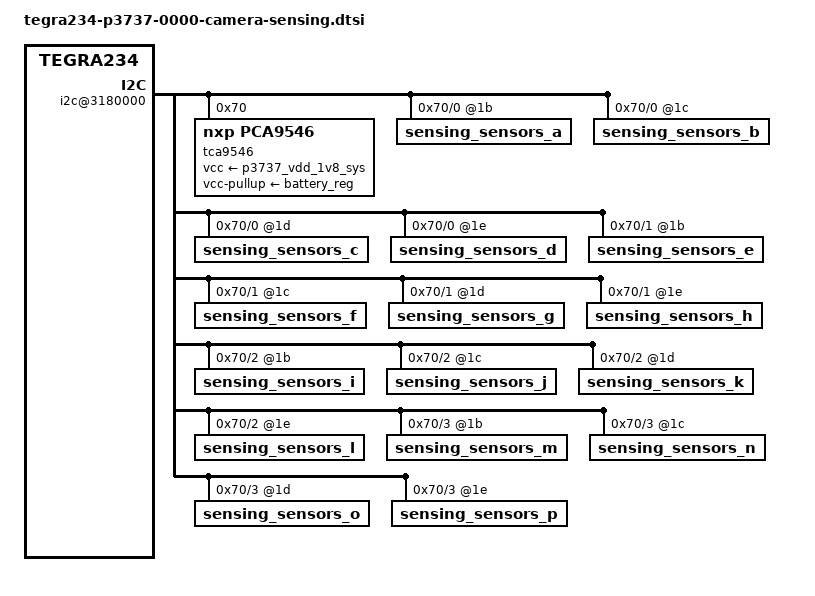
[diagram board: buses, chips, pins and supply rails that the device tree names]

#include <t234-common-modules/tegra234-camera-sensing.dtsi>
#include "dt-bindings/clock/tegra234-clock.h"

#define CAMERA_I2C_MUX_BUS(x) (0x1E + x)

/ {
	i2c@3180000 {
		tca9546@70 {
			compatible = "nxp,pca9546";
			reg = <0x70>;
			#address-cells = <1>;
			#size-cells = <0>;
			skip_mux_detect = "yes";
			vcc-supply = <&p3737_vdd_1v8_sys>;
			vcc-pullup-supply = <&battery_reg>;
			force_bus_start = <CAMERA_I2C_MUX_BUS(0)>;

			i2c@0 {
				reg = <0>;
				i2c-mux,deselect-on-exit;
				#address-cells = <1>;
				#size-cells = <0>;

				sensing_sensors_a@1b {
					status = "okay";
					clocks = <&bpmp_clks TEGRA234_CLK_EXTPERIPH1>,
							 <&bpmp_clks TEGRA234_CLK_EXTPERIPH1>;
					clock-names = "extperiph1", "pllp_grtba";
					mclk = "extperiph1";
				};

				sensing_sensors_b@1c {
					status = "okay";
					clocks = <&bpmp_clks TEGRA234_CLK_EXTPERIPH1>,
							 <&bpmp_clks TEGRA234_CLK_EXTPERIPH1>;
					clock-names = "extperiph1", "pllp_grtba";
					mclk = "extperiph1";
				};

				sensing_sensors_c@1d {
					status = "okay";
					clocks = <&bpmp_clks TEGRA234_CLK_EXTPERIPH1>,
							 <&bpmp_clks TEGRA234_CLK_EXTPERIPH1>;
					clock-names = "extperiph1", "pllp_grtba";
					mclk = "extperiph1";
				};

				sensing_sensors_d@1e {
					status = "okay";
					clocks = <&bpmp_clks TEGRA234_CLK_EXTPERIPH1>,
							 <&bpmp_clks TEGRA234_CLK_EXTPERIPH1>;
					clock-names = "extperiph1", "pllp_grtba";
					mclk = "extperiph1";
				};
			};

			i2c@1 {
				reg = <1>;
				i2c-mux,deselect-on-exit;
				#address-cells = <1>;
				#size-cells = <0>;

				sensing_sensors_e@1b {
					status = "okay";
					clocks = <&bpmp_clks TEGRA234_CLK_EXTPERIPH1>,
							 <&bpmp_clks TEGRA234_CLK_EXTPERIPH1>;
					clock-names = "extperiph1", "pllp_grtba";
					mclk = "extperiph1";
				};

				sensing_sensors_f@1c {
					status = "okay";
					clocks = <&bpmp_clks TEGRA234_CLK_EXTPERIPH1>,
							 <&bpmp_clks TEGRA234_CLK_EXTPERIPH1>;
					clock-names = "extperiph1", "pllp_grtba";
					mclk = "extperiph1";
				};

				sensing_sensors_g@1d {
					status = "okay";
					clocks = <&bpmp_clks TEGRA234_CLK_EXTPERIPH1>,
							 <&bpmp_clks TEGRA234_CLK_EXTPERIPH1>;
					clock-names = "extperiph1", "pllp_grtba";
					mclk = "extperiph1";
				};

				sensing_sensors_h@1e {
					status = "okay";
					clocks = <&bpmp_clks TEGRA234_CLK_EXTPERIPH1>,
							 <&bpmp_clks TEGRA234_CLK_EXTPERIPH1>;
					clock-names = "extperiph1", "pllp_grtba";
					mclk = "extperiph1";
				};
			};

			i2c@2 {
				reg = <2>;
				i2c-mux,deselect-on-exit;
				#address-cells = <1>;
				#size-cells = <0>;

				sensing_sensors_i@1b {
					status = "okay";
					clocks = <&bpmp_clks TEGRA234_CLK_EXTPERIPH1>,
							 <&bpmp_clks TEGRA234_CLK_EXTPERIPH1>;
					clock-names = "extperiph1", "pllp_grtba";
					mclk = "extperiph1";
				};

				sensing_sensors_j@1c {
					status = "okay";
					clocks = <&bpmp_clks TEGRA234_CLK_EXTPERIPH1>,
							 <&bpmp_clks TEGRA234_CLK_EXTPERIPH1>;
					clock-names = "extperiph1", "pllp_grtba";
					mclk = "extperiph1";
				};

				sensing_sensors_k@1d {
					status = "okay";
					clocks = <&bpmp_clks TEGRA234_CLK_EXTPERIPH1>,
							 <&bpmp_clks TEGRA234_CLK_EXTPERIPH1>;
					clock-names = "extperiph1", "pllp_grtba";
					mclk = "extperiph1";
				};

				sensing_sensors_l@1e {
					status = "okay";
					clocks = <&bpmp_clks TEGRA234_CLK_EXTPERIPH1>,
							 <&bpmp_clks TEGRA234_CLK_EXTPERIPH1>;
					clock-names = "extperiph1", "pllp_grtba";
					mclk = "extperiph1";
				};
			};

			i2c@3 {
				reg = <3>;
				i2c-mux,deselect-on-exit;
				#address-cells = <1>;
				#size-cells = <0>;

				sensing_sensors_m@1b {
					status = "okay";
					clocks = <&bpmp_clks TEGRA234_CLK_EXTPERIPH1>,
							 <&bpmp_clks TEGRA234_CLK_EXTPERIPH1>;
					clock-names = "extperiph1", "pllp_grtba";
					mclk = "extperiph1";
				};

				sensing_sensors_n@1c {
					status = "okay";
					clocks = <&bpmp_clks TEGRA234_CLK_EXTPERIPH1>,
							 <&bpmp_clks TEGRA234_CLK_EXTPERIPH1>;
					clock-names = "extperiph1", "pllp_grtba";
					mclk = "extperiph1";
				};

				sensing_sensors_o@1d {
					status = "okay";
					clocks = <&bpmp_clks TEGRA234_CLK_EXTPERIPH1>,
							 <&bpmp_clks TEGRA234_CLK_EXTPERIPH1>;
					clock-names = "extperiph1", "pllp_grtba";
					mclk = "extperiph1";
				};

				sensing_sensors_p@1e {
					status = "okay";
					clocks = <&bpmp_clks TEGRA234_CLK_EXTPERIPH1>,
							 <&bpmp_clks TEGRA234_CLK_EXTPERIPH1>;
					clock-names = "extperiph1", "pllp_grtba";
					mclk = "extperiph1";
				};
			};
		};
	};
};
